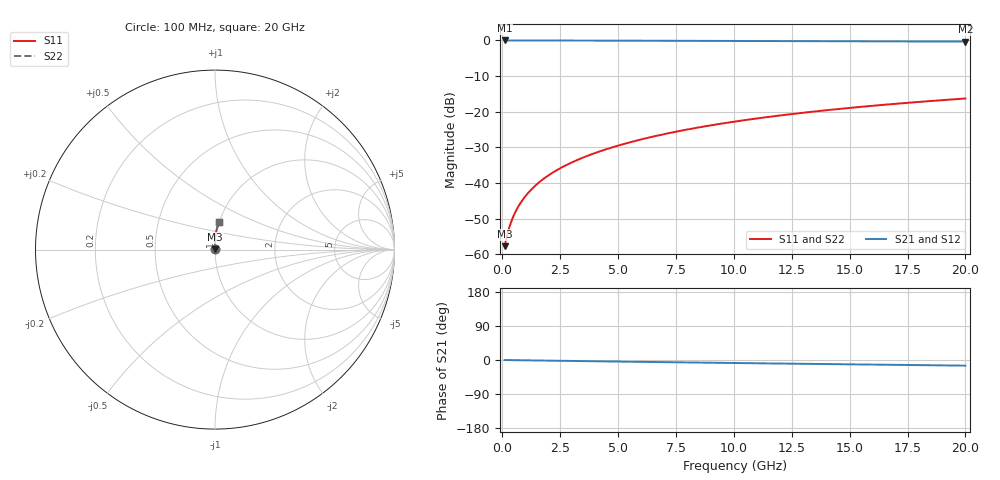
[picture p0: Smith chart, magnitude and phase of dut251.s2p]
! Touchstone file exported from HFSS 2024.1.0
!  File:  C:/UserFiles/LocalFiles/RDL_TSV_Batchsim/temp_RDL_top_251_1778688899.aedt
!  Generated:  12:17:16 AM May 14, 2026
!  Design:  RDL_top
!  Project:  temp_RDL_top_251_1778688899
!  Setup:  Setup1
!  Solution:  Sweep
! Variables:
!  dtsv = 10.80580581um
!  hbump = 3um
!  htsv = 68.86um
!  ldown = 100um
!  lrdl = 190.7um
!  p = 40
!  p1 = 47.14um
!  rhole = 1um
!  t = 450um
!  tdown = 3.915915916um
!  trdl = 3.32um
!  wdown = 15.38538539um
!  wrdl = 24.26um
# GHz S MA R 50.000000
! Terminal data exported
! Port[1] = Box2_T1
! Port[2] = Box2_T2
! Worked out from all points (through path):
!   200 points, 100 MHz to 20 GHz, reference 50 ohm
!   highest |S21| = -0.01 dB at 100 MHz (marker M1); lowest = -0.3 dB at 20 GHz (marker M2)
!   group delay of S21, straight-line fit = 2.04 ps
!   lowest |S11| = -57.7 dB at 100 MHz (marker M3), VSWR 1.00, Z = 50.1 + j0.0715 ohm
!   |S11| at or under -10 dB: start of sweep to end of sweep
!   |S22| runs from -57.7 to -16.3 dB; largest |S21 - S12| = 2.6e-15
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0.1  0.0013 33.3  0.9989 -0.1  0.9989 -0.1  0.0013 33.3
! Gamma 0 0 0 0
! Port Impedance 50 0 50 0
0.2  0.001802 50.9  0.9988 -0.2  0.9988 -0.2  0.001802 50.9
0.3  0.002371 59.9  0.9988 -0.3  0.9988 -0.3  0.002371 59.9
0.4  0.002952 65.4  0.9987 -0.4  0.9987 -0.4  0.002952 65.4
0.5  0.003538 69.2  0.9986 -0.4  0.9986 -0.4  0.003538 69.2
0.6  0.004129 72.1  0.9986 -0.5  0.9986 -0.5  0.004129 72.1
0.8  0.005327 76.2  0.9985 -0.7  0.9985 -0.7  0.005327 76.2
1.1  0.007158 80.0  0.9983 -1.0  0.9983 -1.0  0.007158 80.0
1.3  0.008399 81.8  0.9981 -1.1  0.9981 -1.1  0.008399 81.8
1.6  0.01028 83.7  0.9979 -1.4  0.9979 -1.4  0.01028 83.7
2.1  0.01348 85.9  0.9974 -1.8  0.9974 -1.8  0.01348 85.9
2.7  0.01742 87.7  0.9966 -2.3  0.9966 -2.3  0.01742 87.7
3.5  0.02282 89.1  0.9954 -3.0  0.9954 -3.0  0.02282 89.1
4.2  0.0277 89.9  0.9942 -3.5  0.9942 -3.5  0.02771 89.9
5  0.03346 90.4  0.9927 -4.2  0.9927 -4.2  0.03346 90.4
5.9  0.04013 90.7  0.9909 -4.9  0.9909 -4.9  0.04013 90.7
6.8  0.047 90.6  0.989 -5.6  0.989 -5.6  0.047 90.6
8.4  0.05955 90.1  0.9856 -6.8  0.9856 -6.8  0.05955 90.1
10.1  0.07321 89.1  0.982 -8.0  0.982 -8.0  0.07321 89.1
13.4  0.1001 86.6  0.9755 -10.3  0.9755 -10.3  0.1001 86.6
16.7  0.1269 83.8  0.9693 -12.6  0.9693 -12.6  0.1269 83.8
20  0.1532 81.0  0.9632 -14.9  0.9632 -14.9  0.1532 81.0
